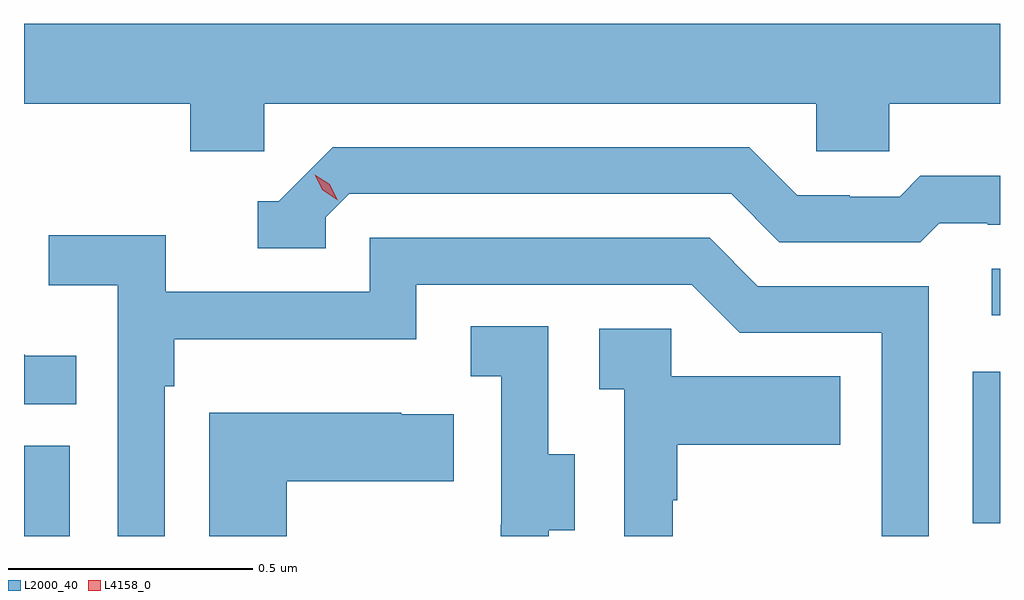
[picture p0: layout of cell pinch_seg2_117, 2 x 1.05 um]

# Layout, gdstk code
import gdstk
lib = gdstk.Library(unit=1e-6, precision=1e-09)
def R(c, l, rs):  # rectangles x0, y0, x1, y1
    for r in rs: c.add(gdstk.rectangle(r[:2], r[2:], *l))
def P(c, l, *ps):  # polygons
    for p in ps: c.add(gdstk.Polygon(p, *l))
L2000_40 = (2000, 40)
L4158_0 = (4158, 0)

pinch_seg2_117 = lib.new_cell('pinch_seg2_117')
R(pinch_seg2_117, L2000_40, [(1043.196,630.765,1043.29,630.951), (1045.14,630.792,1045.196,631.102), (1045.179,631.218,1045.196,631.314)])
P(pinch_seg2_117, L2000_40, [(1043.688,631.652),(1044.819,631.652),(1044.819,631.554),(1044.969,631.554),(1044.969,631.652),(1045.196,631.652),(1045.196,631.816),(1043.196,631.816),(1043.196,631.652),(1043.537,631.652),(1043.537,631.554),(1043.688,631.554)],
  [(1043.814,631.419),(1043.862,631.467),(1044.645,631.467),(1044.744,631.368),(1045.033,631.368),(1045.072,631.407),(1045.171,631.407),(1045.171,631.404),(1045.196,631.404),(1045.196,631.504),(1045.033,631.504),(1044.991,631.461),(1044.888,631.461),(1044.888,631.464),(1044.781,631.464),(1044.682,631.563),(1043.829,631.563),(1043.718,631.452),(1043.675,631.452),(1043.675,631.356),(1043.814,631.356)],
  [(1043.484,631.073),(1043.504,631.073),(1043.504,631.169),(1044,631.169),(1044,631.281),(1044.564,631.281),(1044.663,631.182),(1044.954,631.182),(1044.954,630.765),(1045.05,630.765),(1045.05,631.278),(1044.7,631.278),(1044.601,631.377),(1043.904,631.377),(1043.904,631.266),(1043.486,631.266),(1043.486,631.382),(1043.247,631.382),(1043.247,631.28),(1043.388,631.28),(1043.388,630.765),(1043.484,630.765)],
  [(1044.271,630.778),(1044.325,630.778),(1044.325,630.933),(1044.27,630.933),(1044.27,631.196),(1044.111,631.196),(1044.111,631.093),(1044.174,631.093),(1044.174,630.789),(1044.173,630.789),(1044.173,630.765),(1044.271,630.765)],
  [(1044.525,630.839),(1044.535,630.839),(1044.535,630.953),(1044.869,630.953),(1044.869,631.093),(1044.522,631.093),(1044.522,631.191),(1044.375,631.191),(1044.375,631.067),(1044.426,631.067),(1044.426,630.765),(1044.525,630.765)],
  [(1043.303,631.135),(1043.199,631.135),(1043.196,631.138),(1043.196,631.036),(1043.303,631.036)],
  [(1043.734,630.878),(1044.077,630.878),(1044.077,631.015),(1043.969,631.015),(1043.969,631.018),(1043.576,631.018),(1043.576,630.765),(1043.734,630.765)])
P(pinch_seg2_117, L4158_0, [(1043.839,631.454),(1043.808,631.474),(1043.792,631.506),(1043.792,631.506),(1043.792,631.506),(1043.823,631.487),(1043.839,631.454),(1043.839,631.454)])

lib.write_gds('pinch_seg2_117.gds')
